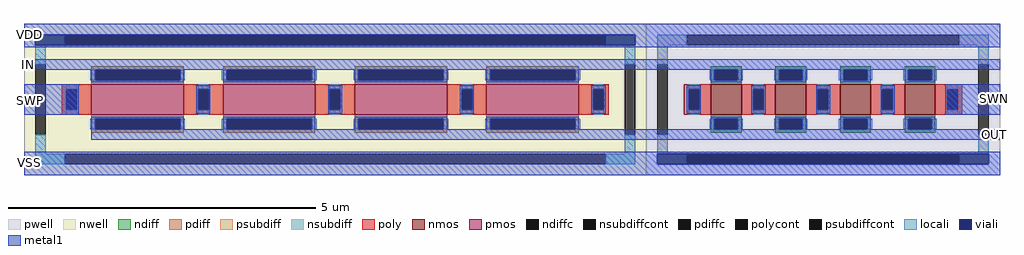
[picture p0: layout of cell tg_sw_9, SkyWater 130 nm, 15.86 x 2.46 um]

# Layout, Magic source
magic
tech sky130A
magscale 1 2
<< viali >>
rect -16 369 1933 403
rect 2005 -17 3083 17
<< metal1 >>
rect -53 403 3119 439
rect -53 369 -16 403
rect 1933 369 3119 403
rect -53 363 3119 369
rect -53 289 3119 323
rect -53 143 125 243
rect 2941 143 3119 243
rect 166 63 3119 97
rect -53 17 3119 23
rect -53 -17 2005 17
rect 3083 -17 3119 17
rect -53 -53 3119 -17
use sky130_fd_pr__pfet_01v8_SEQ3W4  XM1
transform 0 1 958 -1 0 193
box -246 -1011 246 1011
use sky130_fd_pr__nfet_01v8_G4VVNX  XM2
transform 0 1 2544 -1 0 193
box -246 -575 246 575
<< labels >>
flabel metal1 -40 400 -29 411 0 FreeSans 400 0 0 0 VDD
port 0 nsew
flabel metal1 -40 -18 -29 -7 0 FreeSans 400 0 0 0 VSS
port 1 nsew
flabel metal1 -43 302 -34 311 0 FreeSans 400 0 0 0 IN
port 2 nsew
flabel metal1 -37 186 -28 195 0 FreeSans 400 0 0 0 SWP
port 3 nsew
flabel metal1 3096 193 3106 202 0 FreeSans 400 0 0 0 SWN
port 4 nsew
flabel metal1 3096 76 3106 85 0 FreeSans 400 0 0 0 OUT
port 6 nsew
<< end >>

# cell sky130_fd_pr__pfet_01v8_SEQ3W4: kit device sky130_fd_pr__pfet_01v8, w 1.5 l 0.5 m 4 nf 1 diffcov 100 polycov 100 guard 1 glc 1 grc 1 gtc 1 gbc 1 tbcov 100 rlcov 100 topc 0 botc 0 poverlap 1 doverlap 1 lmin 0.15 wmin 0.42 compatible {sky130_fd_pr__pfet_01v8 sky130_fd_pr__pfet_01v8_lvt sky130_fd_pr__pfet_01v8_hvt sky130_fd_pr__pfet_g5v0d10v5} full_metal 1 viasrc 100 viadrn 100 viagate 100 viagb 0 viagr 0 viagl 0 viagt 0

# cell sky130_fd_pr__nfet_01v8_G4VVNX: kit device sky130_fd_pr__nfet_01v8, w 0.5 l 0.5 m 4 nf 1 diffcov 100 polycov 100 guard 1 glc 1 grc 1 gtc 1 gbc 1 tbcov 100 rlcov 100 topc 0 botc 0 poverlap 1 doverlap 1 lmin 0.15 wmin 0.42 compatible {sky130_fd_pr__nfet_01v8 sky130_fd_pr__nfet_01v8_lvt sky130_fd_bs_flash__special_sonosfet_star sky130_fd_pr__nfet_g5v0d10v5 sky130_fd_pr__nfet_05v0_nvt sky130_fd_pr__nfet_03v3_nvt} full_metal 1 viasrc 100 viadrn 100 viagate 100 viagb 0 viagr 0 viagl 0 viagt 0
